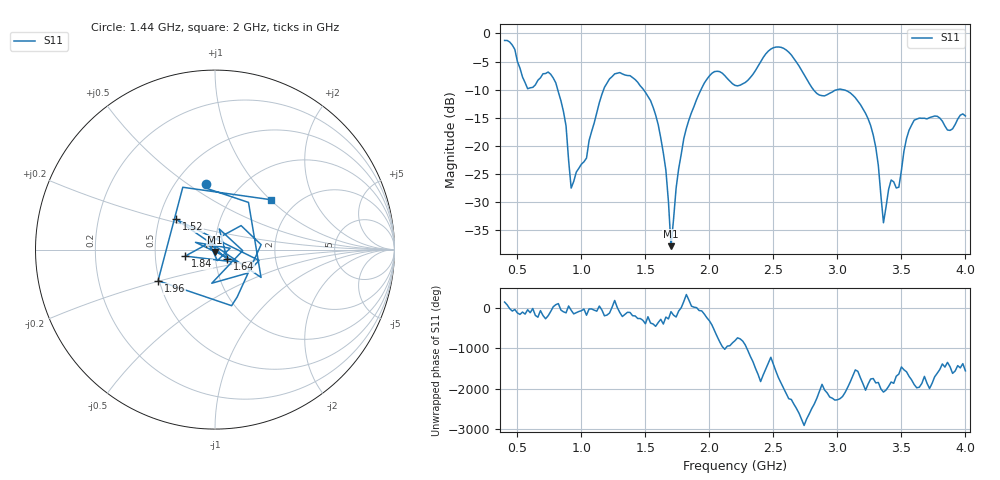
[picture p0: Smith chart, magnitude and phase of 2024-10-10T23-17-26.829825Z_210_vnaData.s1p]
! Created with skrf (http://scikit-rf.org).
# Hz S RI R 50.0
!freq ReS11 ImS11
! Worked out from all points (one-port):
!   181 points, 400 MHz to 4 GHz, reference 50 ohm
!   lowest |S11| = -37.8 dB at 1.7 GHz (marker M1), VSWR 1.03, Z = 49.9 - j1.28 ohm
!   |S11| at or under -10 dB: 814.7 MHz to 1.174 GHz (358.8 MHz wide, 36.1 % of centre); 1.485 GHz to 1.935 GHz (449.2 MHz wide, 26.3 % of centre); 3.042 GHz to end of sweep (the widest 3 of 4)
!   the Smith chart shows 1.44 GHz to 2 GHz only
!   S11 on the Smith chart (normalised r, x): 1.44 GHz: 0.70, +0.59; 1.52 GHz: 0.61, +0.22; 1.64 GHz: 1.14, -0.12; 1.84 GHz: 0.71, -0.05; 1.96 GHz: 0.49, -0.20; 2 GHz: 1.51, +1.01
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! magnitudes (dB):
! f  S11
! 400 MHz  -1.3
! 580 MHz  -9.8
! 760 MHz  -7.3
! 860 MHz  -13.9
! 920 MHz  -27.5
! 1.04 GHz  -22.2
! 1.18 GHz  -9.6
! 1.3 GHz  -7.0
! 1.44 GHz  -8.7
! 1.52 GHz  -11.2
! 1.64 GHz  -21.3
! 1.66 GHz  -24.3
! 1.7 GHz  -37.8
! 1.76 GHz  -24.1
! 1.84 GHz  -15.4
! 1.96 GHz  -8.8
! 2 GHz  -7.6
! 2.2 GHz  -9.2
! 2.5 GHz  -2.5
! 2.66 GHz  -4.5
! 2.84 GHz  -10.7
! 3.1 GHz  -10.6
! 3.28 GHz  -18.1
! 3.36 GHz  -33.7
! 3.42 GHz  -26.1
! 3.48 GHz  -27.4
! 3.56 GHz  -17.2
! 4 GHz  -14.7
